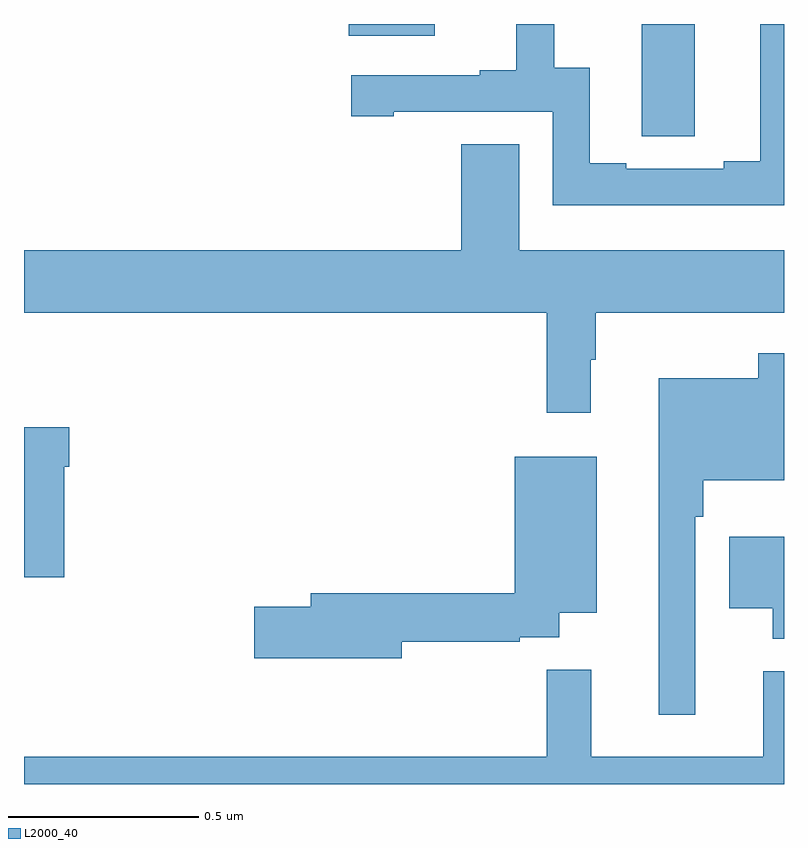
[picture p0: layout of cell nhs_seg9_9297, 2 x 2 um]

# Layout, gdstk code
import gdstk
lib = gdstk.Library(unit=1e-6, precision=1e-09)
def R(c, l, rs):  # rectangles x0, y0, x1, y1
    for r in rs: c.add(gdstk.rectangle(r[:2], r[2:], *l))
def P(c, l, *ps):  # polygons
    for p in ps: c.add(gdstk.Polygon(p, *l))
L2000_40 = (2000, 40)

nhs_seg9_9297 = lib.new_cell('nhs_seg9_9297')
R(nhs_seg9_9297, L2000_40, [(228.854,1210.469,229.081,1210.5)])
P(nhs_seg9_9297, L2000_40, [(230,1210.5),(229.937,1210.5),(229.937,1210.139),(229.841,1210.139),(229.841,1210.119),(229.585,1210.119),(229.585,1210.134),(229.489,1210.134),(229.489,1210.385),(229.395,1210.385),(229.395,1210.5),(229.295,1210.5),(229.295,1210.378),(229.199,1210.378),(229.199,1210.365),(228.861,1210.365),(228.861,1210.257),(228.973,1210.257),(228.973,1210.269),(229.392,1210.269),(229.392,1210.023),(230,1210.023)],
  [(229.765,1210.5),(229.625,1210.5),(229.625,1210.312),(229.626,1210.312),(229.626,1210.204),(229.765,1210.204)],
  [(229.492,1209.617),(229.504,1209.617),(229.504,1209.74),(230,1209.74),(230,1209.904),(229.303,1209.904),(229.303,1210.184),(229.151,1210.184),(229.151,1209.904),(228,1209.904),(228,1209.74),(229.375,1209.74),(229.375,1209.477),(229.492,1209.477)],
  [(229.767,1209.203),(229.787,1209.203),(229.787,1209.299),(230,1209.299),(230,1209.634),(229.932,1209.634),(229.932,1209.568),(229.67,1209.568),(229.67,1208.682),(229.767,1208.682)],
  [(228.106,1209.335),(228.119,1209.335),(228.119,1209.439),(228,1209.439),(228,1209.044),(228.106,1209.044)],
  [(228.994,1208.874),(229.304,1208.874),(229.304,1208.886),(229.408,1208.886),(229.408,1208.951),(229.507,1208.951),(229.507,1209.361),(229.292,1209.361),(229.292,1209.002),(228.755,1209.002),(228.755,1208.966),(228.606,1208.966),(228.606,1208.831),(228.994,1208.831)],
  [(230,1209.151),(229.856,1209.151),(229.856,1208.963),(229.97,1208.963),(229.97,1208.882),(230,1208.882)],
  [(230,1208.797),(229.946,1208.797),(229.946,1208.572),(229.493,1208.572),(229.493,1208.801),(229.375,1208.801),(229.375,1208.572),(228,1208.572),(228,1208.5),(230,1208.5)])

lib.write_gds('nhs_seg9_9297.gds')
